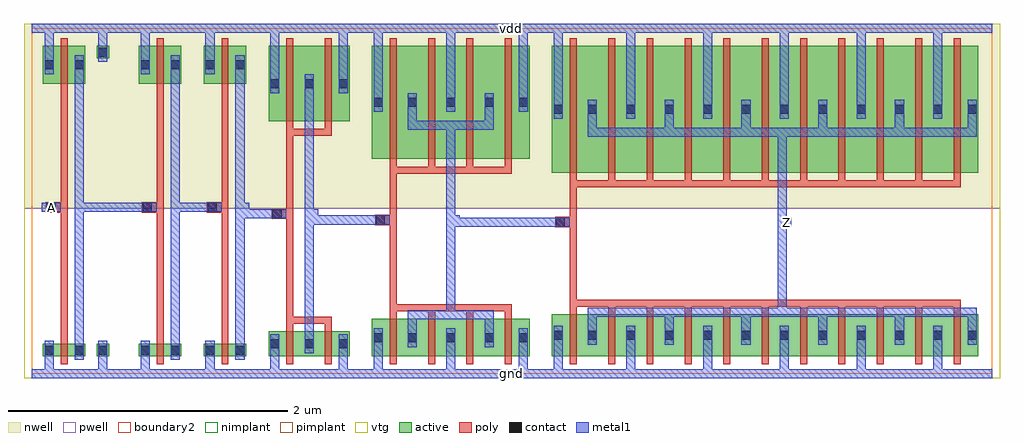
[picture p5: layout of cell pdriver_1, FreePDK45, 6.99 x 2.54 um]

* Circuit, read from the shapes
.subckt pdriver_1 A Z gnd vdd
M1 pinv_8_1/A A gnd gnd nfet w=0.09u l=0.05u
M2 pinv_8_2/A pinv_8_1/A gnd gnd nfet w=0.09u l=0.05u
M3 pinv_9_3/A pinv_8_2/A gnd gnd nfet w=0.09u l=0.05u
M4 pinv_10_4/A pinv_9_3/A gnd gnd nfet w=0.18u l=0.05u m=2
M5 pinv_11_5/A pinv_10_4/A gnd gnd nfet w=0.27u l=0.05u m=4
M6 Z pinv_11_5/A gnd gnd nfet w=0.3025u l=0.05u m=11
M7 pinv_8_1/A A vdd vdd pfet w=0.27u l=0.05u
M8 pinv_8_2/A pinv_8_1/A vdd vdd pfet w=0.27u l=0.05u
M9 pinv_9_3/A pinv_8_2/A vdd vdd pfet w=0.27u l=0.05u
M10 pinv_10_4/A pinv_9_3/A vdd vdd pfet w=0.54u l=0.05u m=2
M11 pinv_11_5/A pinv_10_4/A vdd vdd pfet w=0.81u l=0.05u m=4
M12 Z pinv_11_5/A vdd vdd pfet w=0.9075u l=0.05u m=11
.ends

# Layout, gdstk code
import gdstk
lib = gdstk.Library(unit=1e-6, precision=5e-10)
def R(c, l, rs):  # rectangles x0, y0, x1, y1
    for r in rs: c.add(gdstk.rectangle(r[:2], r[2:], *l))
def A(c, l, x, y, w, h, nx, ny, dx, dy):  # array of equal rectangles
    R(c, l, [(x+i*dx, y+j*dy, x+i*dx+w, y+j*dy+h) for i in range(nx) for j in range(ny)])
active = (1, 0)
pwell = (2, 0)
nwell = (3, 0)
nimplant = (4, 0)
pimplant = (5, 0)
vtg = (6, 0)
poly = (9, 0)
contact = (10, 0)
metal1 = (11, 0)
boundary2 = (239, 0)

contact_10 = lib.new_cell('contact_10')
R(contact_10, active, [(0,0.0225,0.09,0.1125)])
R(contact_10, nwell, [(-0.055,-0.0325,0.145,0.1675)])
R(contact_10, pimplant, [(0,0.0225,0.09,0.1125)])
R(contact_10, contact, [(0.0125,0.035,0.0775,0.1)])
R(contact_10, metal1, [(0.0125,0,0.0775,0.135)])
R(contact_10, boundary2, [(-0.055,-0.0325,0.145,0.1675)])

pmos_m1_w0_270_sm1_dm1_d = lib.new_cell('pmos_m1_w0_270_sm1_dm1_da_p')
R(pmos_m1_w0_270_sm1_dm1_d, active, [(0,0,0.305,0.27)])
R(pmos_m1_w0_270_sm1_dm1_d, nwell, [(-0.08,-0.08,0.385,0.35)])
R(pmos_m1_w0_270_sm1_dm1_d, pimplant, [(0,0,0.305,0.27)])
R(pmos_m1_w0_270_sm1_dm1_d, vtg, [(-0.08,-0.08,0.385,0.35)])
R(pmos_m1_w0_270_sm1_dm1_d, poly, [(0.1275,-0.055,0.1775,0.325), (0.1275,-0.055,0.1775,0.325)])
R(pmos_m1_w0_270_sm1_dm1_d, metal1, [(0.0125,0.0675,0.0775,0.2025), (0.2275,0.0675,0.2925,0.2025)])
R(pmos_m1_w0_270_sm1_dm1_d, boundary2, [(-0.08,-0.08,0.385,0.35)])
pmos_m1_w0_270_sm1_dm1_d.add(gdstk.Reference(contact_10, (0,0.0675)))
pmos_m1_w0_270_sm1_dm1_d.add(gdstk.Reference(contact_10, (0.215,0.0675)))
pmos_m1_w0_270_sm1_dm1_d.add(gdstk.Label('G', (0.1525,0.135), layer=9, texttype=0))
pmos_m1_w0_270_sm1_dm1_d.add(gdstk.Label('S', (0.045,0.135), layer=11, texttype=0))
pmos_m1_w0_270_sm1_dm1_d.add(gdstk.Label('D', (0.26,0.135), layer=11, texttype=0))

contact_9 = lib.new_cell('contact_9')
R(contact_9, active, [(0,0.0225,0.09,0.1125)])
R(contact_9, pwell, [(-0.055,-0.0325,0.145,0.1675)])
R(contact_9, nimplant, [(0,0.0225,0.09,0.1125)])
R(contact_9, contact, [(0.0125,0.035,0.0775,0.1)])
R(contact_9, metal1, [(0.0125,0,0.0775,0.135)])
R(contact_9, boundary2, [(-0.055,-0.0325,0.145,0.1675)])

nmos_m1_w0_090_sm1_dm1_d = lib.new_cell('nmos_m1_w0_090_sm1_dm1_da_p')
R(nmos_m1_w0_090_sm1_dm1_d, active, [(0,0,0.305,0.09)])
R(nmos_m1_w0_090_sm1_dm1_d, pwell, [(-0.08,-0.08,0.385,0.17)])
R(nmos_m1_w0_090_sm1_dm1_d, nimplant, [(0,0,0.305,0.09)])
R(nmos_m1_w0_090_sm1_dm1_d, vtg, [(-0.08,-0.08,0.385,0.17)])
R(nmos_m1_w0_090_sm1_dm1_d, poly, [(0.1275,-0.055,0.1775,0.145), (0.1275,-0.055,0.1775,0.145)])
R(nmos_m1_w0_090_sm1_dm1_d, metal1, [(0.0125,-0.0225,0.0775,0.1125), (0.2275,-0.0225,0.2925,0.1125)])
R(nmos_m1_w0_090_sm1_dm1_d, boundary2, [(-0.08,-0.08,0.385,0.17)])
nmos_m1_w0_090_sm1_dm1_d.add(gdstk.Reference(contact_9, (0,-0.0225)))
nmos_m1_w0_090_sm1_dm1_d.add(gdstk.Reference(contact_9, (0.215,-0.0225)))
nmos_m1_w0_090_sm1_dm1_d.add(gdstk.Label('G', (0.1525,0.045), layer=9, texttype=0))
nmos_m1_w0_090_sm1_dm1_d.add(gdstk.Label('S', (0.045,0.045), layer=11, texttype=0))
nmos_m1_w0_090_sm1_dm1_d.add(gdstk.Label('D', (0.26,0.045), layer=11, texttype=0))

contact_11 = lib.new_cell('contact_11')
R(contact_11, active, [(0,0.0225,0.09,0.1125)])
R(contact_11, nwell, [(-0.055,-0.0325,0.145,0.1675)])
R(contact_11, nimplant, [(0,0.0225,0.09,0.1125)])
R(contact_11, contact, [(0.0125,0.035,0.0775,0.1)])
R(contact_11, metal1, [(0.0125,0,0.0775,0.135)])
R(contact_11, boundary2, [(-0.055,-0.0325,0.145,0.1675)])

contact_12 = lib.new_cell('contact_12')
R(contact_12, active, [(0,0.0225,0.09,0.1125)])
R(contact_12, pwell, [(-0.055,-0.0325,0.145,0.1675)])
R(contact_12, pimplant, [(0,0.0225,0.09,0.1125)])
R(contact_12, contact, [(0.0125,0.035,0.0775,0.1)])
R(contact_12, metal1, [(0.0125,0,0.0775,0.135)])
R(contact_12, boundary2, [(-0.055,-0.0325,0.145,0.1675)])

contact_13 = lib.new_cell('contact_13')
R(contact_13, poly, [(0.03,0,0.105,0.075)])
R(contact_13, contact, [(0.035,0.005,0.1,0.07)])
R(contact_13, metal1, [(0,0.005,0.135,0.07)])
R(contact_13, boundary2, [(0,0,0.135,0.075)])

pinv_1 = lib.new_cell('pinv_1')
R(pinv_1, pwell, [(-0.055,-0.0325,0.7425,1.1875)])
R(pinv_1, nwell, [(-0.055,1.1875,0.7425,2.51)])
R(pinv_1, vtg, [(-0.055,-0.0325,0.7425,1.1875), (-0.055,1.1875,0.7425,2.51)])
R(pinv_1, poly, [(0.2075,0.27,0.2575,2.025), (0.14,1.155,0.2075,1.23)])
R(pinv_1, metal1, [(0,-0.0325,0.6875,0.0325), (0.0925,-0.0325,0.1575,0.1025), (0.4775,0,0.5425,0.17), (0.3075,0.1025,0.3725,2.2825), (0.0725,1.16,0.2075,1.225), (0.34,1.16,0.405,1.225), (0.0925,2.1475,0.1575,2.5075), (0.4775,2.305,0.5425,2.475), (0,2.4425,0.6875,2.5075)])
R(pinv_1, boundary2, [(0,0,0.6875,2.475), (0,0,0.6875,2.475)])
pinv_1.add(gdstk.Reference(pmos_m1_w0_270_sm1_dm1_d, (0.08,2.08)))
pinv_1.add(gdstk.Reference(nmos_m1_w0_090_sm1_dm1_d, (0.08,0.125)))
pinv_1.add(gdstk.Reference(contact_11, (0.465,2.2375)))
pinv_1.add(gdstk.Reference(contact_12, (0.465,0.1025)))
pinv_1.add(gdstk.Reference(contact_13, (0.0725,1.155)))
pinv_1.add(gdstk.Label('A', (0.14,1.1925), layer=11, texttype=0))
pinv_1.add(gdstk.Label('Z', (0.3725,1.1925), layer=11, texttype=0))
pinv_1.add(gdstk.Label('gnd', (0.344,0), layer=11, texttype=0))
pinv_1.add(gdstk.Label('vdd', (0.344,2.475), layer=11, texttype=0))

pinv_8 = lib.new_cell('pinv_8')
R(pinv_8, pwell, [(-0.055,-0.0325,0.52,1.1875)])
R(pinv_8, nwell, [(-0.055,1.1875,0.52,2.51)])
R(pinv_8, vtg, [(-0.055,-0.0325,0.52,1.1875), (-0.055,1.1875,0.52,2.51)])
R(pinv_8, poly, [(0.2075,0.27,0.2575,2.025), (0.14,1.155,0.2075,1.23)])
R(pinv_8, metal1, [(0,-0.0325,0.465,0.0325), (0.0925,-0.0325,0.1575,0.1025), (0.3075,0.1025,0.3725,2.2825), (0.0725,1.16,0.2075,1.225), (0.34,1.16,0.405,1.225), (0.0925,2.1475,0.1575,2.5075), (0,2.4425,0.465,2.5075)])
R(pinv_8, boundary2, [(0,0,0.465,2.475), (0,0,0.465,2.475)])
pinv_8.add(gdstk.Reference(pmos_m1_w0_270_sm1_dm1_d, (0.08,2.08)))
pinv_8.add(gdstk.Reference(nmos_m1_w0_090_sm1_dm1_d, (0.08,0.125)))
pinv_8.add(gdstk.Reference(contact_13, (0.0725,1.155)))
pinv_8.add(gdstk.Label('A', (0.14,1.1925), layer=11, texttype=0))
pinv_8.add(gdstk.Label('Z', (0.3725,1.1925), layer=11, texttype=0))
pinv_8.add(gdstk.Label('gnd', (0.2325,0), layer=11, texttype=0))
pinv_8.add(gdstk.Label('vdd', (0.2325,2.475), layer=11, texttype=0))

pmos_m2_w0_540_sm1_dm1_d = lib.new_cell('pmos_m2_w0_540_sm1_dm1_da_p')
R(pmos_m2_w0_540_sm1_dm1_d, active, [(0,0,0.58,0.54)])
R(pmos_m2_w0_540_sm1_dm1_d, nwell, [(-0.08,-0.08,0.66,0.62)])
R(pmos_m2_w0_540_sm1_dm1_d, pimplant, [(0,0,0.58,0.54)])
R(pmos_m2_w0_540_sm1_dm1_d, vtg, [(-0.08,-0.08,0.66,0.62)])
R(pmos_m2_w0_540_sm1_dm1_d, poly, [(0.1275,-0.105,0.4525,-0.055), (0.1275,-0.055,0.1775,0.595), (0.4025,-0.055,0.4525,0.595)])
A(pmos_m2_w0_540_sm1_dm1_d, metal1, 0.0125, 0.2025, 0.065, 0.135, 3, 1, 0.245, 0)
R(pmos_m2_w0_540_sm1_dm1_d, boundary2, [(-0.08,-0.08,0.66,0.62)])
pmos_m2_w0_540_sm1_dm1_d.add(gdstk.Reference(contact_10, (0,0.2025)))
pmos_m2_w0_540_sm1_dm1_d.add(gdstk.Reference(contact_10, (0.245,0.2025)))
pmos_m2_w0_540_sm1_dm1_d.add(gdstk.Reference(contact_10, (0.49,0.2025)))
pmos_m2_w0_540_sm1_dm1_d.add(gdstk.Label('G', (0.29,-0.08), layer=9, texttype=0))
pmos_m2_w0_540_sm1_dm1_d.add(gdstk.Label('S', (0.535,0.27), layer=11, texttype=0))
pmos_m2_w0_540_sm1_dm1_d.add(gdstk.Label('S', (0.045,0.27), layer=11, texttype=0))
pmos_m2_w0_540_sm1_dm1_d.add(gdstk.Label('D', (0.29,0.27), layer=11, texttype=0))

nmos_m2_w0_180_sm1_dm1_d = lib.new_cell('nmos_m2_w0_180_sm1_dm1_da_p')
R(nmos_m2_w0_180_sm1_dm1_d, active, [(0,0,0.58,0.18)])
R(nmos_m2_w0_180_sm1_dm1_d, pwell, [(-0.08,-0.08,0.66,0.26)])
R(nmos_m2_w0_180_sm1_dm1_d, nimplant, [(0,0,0.58,0.18)])
R(nmos_m2_w0_180_sm1_dm1_d, vtg, [(-0.08,-0.08,0.66,0.26)])
R(nmos_m2_w0_180_sm1_dm1_d, poly, [(0.1275,-0.055,0.1775,0.235), (0.4025,-0.055,0.4525,0.235), (0.1275,0.235,0.4525,0.285)])
A(nmos_m2_w0_180_sm1_dm1_d, metal1, 0.0125, 0.0225, 0.065, 0.135, 3, 1, 0.245, 0)
R(nmos_m2_w0_180_sm1_dm1_d, boundary2, [(-0.08,-0.08,0.66,0.26)])
nmos_m2_w0_180_sm1_dm1_d.add(gdstk.Reference(contact_9, (0,0.0225)))
nmos_m2_w0_180_sm1_dm1_d.add(gdstk.Reference(contact_9, (0.245,0.0225)))
nmos_m2_w0_180_sm1_dm1_d.add(gdstk.Reference(contact_9, (0.49,0.0225)))
nmos_m2_w0_180_sm1_dm1_d.add(gdstk.Label('G', (0.29,0.26), layer=9, texttype=0))
nmos_m2_w0_180_sm1_dm1_d.add(gdstk.Label('S', (0.535,0.09), layer=11, texttype=0))
nmos_m2_w0_180_sm1_dm1_d.add(gdstk.Label('S', (0.045,0.09), layer=11, texttype=0))
nmos_m2_w0_180_sm1_dm1_d.add(gdstk.Label('D', (0.29,0.09), layer=11, texttype=0))

pinv_9 = lib.new_cell('pinv_9')
R(pinv_9, pwell, [(-0.055,-0.0325,0.795,1.1875)])
R(pinv_9, nwell, [(-0.055,1.1875,0.795,2.51)])
R(pinv_9, vtg, [(-0.055,-0.0325,0.795,1.1875), (-0.055,1.1875,0.795,2.51)])
R(pinv_9, poly, [(0.2075,0.41,0.2575,1.705), (0.14,1.11,0.2075,1.185)])
R(pinv_9, metal1, [(0,-0.0325,0.74,0.0325), (0.0925,-0.0325,0.1575,0.1475), (0.5825,-0.0325,0.6475,0.1475), (0.3375,0.1475,0.4025,2.1475), (0.0725,1.115,0.2075,1.18), (0.37,1.115,0.435,1.18), (0.0925,2.0125,0.1575,2.5075), (0.5825,2.0125,0.6475,2.5075), (0,2.4425,0.74,2.5075)])
R(pinv_9, boundary2, [(0,0,0.74,2.475), (0,0,0.74,2.475)])
pinv_9.add(gdstk.Reference(pmos_m2_w0_540_sm1_dm1_d, (0.08,1.81)))
pinv_9.add(gdstk.Reference(nmos_m2_w0_180_sm1_dm1_d, (0.08,0.125)))
pinv_9.add(gdstk.Reference(contact_13, (0.0725,1.11)))
pinv_9.add(gdstk.Label('A', (0.14,1.1475), layer=11, texttype=0))
pinv_9.add(gdstk.Label('Z', (0.4025,1.1475), layer=11, texttype=0))
pinv_9.add(gdstk.Label('gnd', (0.37,0), layer=11, texttype=0))
pinv_9.add(gdstk.Label('vdd', (0.37,2.475), layer=11, texttype=0))

pmos_m4_w0_810_sm1_dm1_d = lib.new_cell('pmos_m4_w0_810_sm1_dm1_da_p')
R(pmos_m4_w0_810_sm1_dm1_d, active, [(0,0,1.13,0.81)])
R(pmos_m4_w0_810_sm1_dm1_d, nwell, [(-0.08,-0.08,1.21,0.89)])
R(pmos_m4_w0_810_sm1_dm1_d, pimplant, [(0,0,1.13,0.81)])
R(pmos_m4_w0_810_sm1_dm1_d, vtg, [(-0.08,-0.08,1.21,0.89)])
A(pmos_m4_w0_810_sm1_dm1_d, poly, 0.1275, -0.055, 0.05, 0.92, 4, 1, 0.275, 0)
R(pmos_m4_w0_810_sm1_dm1_d, poly, [(0.1275,-0.105,1.0025,-0.055)])
A(pmos_m4_w0_810_sm1_dm1_d, metal1, 0.0125, 0.3375, 0.065, 0.135, 3, 1, 0.52, 0)
R(pmos_m4_w0_810_sm1_dm1_d, metal1, [(0.2575,0.2075,0.8725,0.2725), (0.2575,0.24,0.3225,0.405), (0.8075,0.24,0.8725,0.405)])
R(pmos_m4_w0_810_sm1_dm1_d, boundary2, [(-0.08,-0.08,1.21,0.89)])
pmos_m4_w0_810_sm1_dm1_d.add(gdstk.Reference(contact_10, (0,0.3375)))
pmos_m4_w0_810_sm1_dm1_d.add(gdstk.Reference(contact_10, (0.245,0.3375)))
pmos_m4_w0_810_sm1_dm1_d.add(gdstk.Reference(contact_10, (0.52,0.3375)))
pmos_m4_w0_810_sm1_dm1_d.add(gdstk.Reference(contact_10, (0.795,0.3375)))
pmos_m4_w0_810_sm1_dm1_d.add(gdstk.Reference(contact_10, (1.04,0.3375)))
pmos_m4_w0_810_sm1_dm1_d.add(gdstk.Label('G', (0.565,-0.08), layer=9, texttype=0))
pmos_m4_w0_810_sm1_dm1_d.add(gdstk.Label('S', (0.565,0.405), layer=11, texttype=0))
pmos_m4_w0_810_sm1_dm1_d.add(gdstk.Label('S', (0.045,0.405), layer=11, texttype=0))
pmos_m4_w0_810_sm1_dm1_d.add(gdstk.Label('S', (1.085,0.405), layer=11, texttype=0))
pmos_m4_w0_810_sm1_dm1_d.add(gdstk.Label('D', (0.565,0.24), layer=11, texttype=0))

nmos_m4_w0_270_sm1_dm1_d = lib.new_cell('nmos_m4_w0_270_sm1_dm1_da_p')
R(nmos_m4_w0_270_sm1_dm1_d, active, [(0,0,1.13,0.27)])
R(nmos_m4_w0_270_sm1_dm1_d, pwell, [(-0.08,-0.08,1.21,0.35)])
R(nmos_m4_w0_270_sm1_dm1_d, nimplant, [(0,0,1.13,0.27)])
R(nmos_m4_w0_270_sm1_dm1_d, vtg, [(-0.08,-0.08,1.21,0.35)])
A(nmos_m4_w0_270_sm1_dm1_d, poly, 0.1275, -0.055, 0.05, 0.38, 4, 1, 0.275, 0)
R(nmos_m4_w0_270_sm1_dm1_d, poly, [(0.1275,0.325,1.0025,0.375)])
A(nmos_m4_w0_270_sm1_dm1_d, metal1, 0.0125, 0.0675, 0.065, 0.135, 3, 1, 0.52, 0)
R(nmos_m4_w0_270_sm1_dm1_d, metal1, [(0.2575,0.135,0.3225,0.3), (0.8075,0.135,0.8725,0.3), (0.2575,0.2675,0.8725,0.3325)])
R(nmos_m4_w0_270_sm1_dm1_d, boundary2, [(-0.08,-0.08,1.21,0.35)])
nmos_m4_w0_270_sm1_dm1_d.add(gdstk.Reference(contact_9, (0,0.0675)))
nmos_m4_w0_270_sm1_dm1_d.add(gdstk.Reference(contact_9, (0.245,0.0675)))
nmos_m4_w0_270_sm1_dm1_d.add(gdstk.Reference(contact_9, (0.52,0.0675)))
nmos_m4_w0_270_sm1_dm1_d.add(gdstk.Reference(contact_9, (0.795,0.0675)))
nmos_m4_w0_270_sm1_dm1_d.add(gdstk.Reference(contact_9, (1.04,0.0675)))
nmos_m4_w0_270_sm1_dm1_d.add(gdstk.Label('G', (0.565,0.35), layer=9, texttype=0))
nmos_m4_w0_270_sm1_dm1_d.add(gdstk.Label('S', (0.045,0.135), layer=11, texttype=0))
nmos_m4_w0_270_sm1_dm1_d.add(gdstk.Label('S', (1.085,0.135), layer=11, texttype=0))
nmos_m4_w0_270_sm1_dm1_d.add(gdstk.Label('S', (0.565,0.135), layer=11, texttype=0))
nmos_m4_w0_270_sm1_dm1_d.add(gdstk.Label('D', (0.565,0.3), layer=11, texttype=0))

pinv_10 = lib.new_cell('pinv_10')
R(pinv_10, pwell, [(-0.055,-0.0325,1.345,1.1875)])
R(pinv_10, nwell, [(-0.055,1.1875,1.345,2.51)])
R(pinv_10, vtg, [(-0.055,-0.0325,1.345,1.1875), (-0.055,1.1875,1.345,2.51)])
R(pinv_10, poly, [(0.2075,0.5,0.2575,1.435), (0.14,1.065,0.2075,1.14)])
A(pinv_10, metal1, 0.0925, -0.0325, 0.065, 0.225, 3, 1, 0.52, 0)
A(pinv_10, metal1, 0.0925, 1.8775, 0.065, 0.63, 3, 1, 0.52, 0)
R(pinv_10, metal1, [(0,-0.0325,1.29,0.0325), (0.6125,0.3925,0.6775,1.8125), (0.0725,1.07,0.2075,1.135), (0.645,1.07,0.71,1.135), (0,2.4425,1.29,2.5075)])
R(pinv_10, boundary2, [(0,0,1.29,2.475), (0,0,1.29,2.475)])
pinv_10.add(gdstk.Reference(pmos_m4_w0_810_sm1_dm1_d, (0.08,1.54)))
pinv_10.add(gdstk.Reference(nmos_m4_w0_270_sm1_dm1_d, (0.08,0.125)))
pinv_10.add(gdstk.Reference(contact_13, (0.0725,1.065)))
pinv_10.add(gdstk.Label('A', (0.14,1.1025), layer=11, texttype=0))
pinv_10.add(gdstk.Label('Z', (0.6775,1.1025), layer=11, texttype=0))
pinv_10.add(gdstk.Label('gnd', (0.645,0), layer=11, texttype=0))
pinv_10.add(gdstk.Label('vdd', (0.645,2.475), layer=11, texttype=0))

pmos_m11_w0_907_sm1_dm1_ = lib.new_cell('pmos_m11_w0_907_sm1_dm1_da_p')
R(pmos_m11_w0_907_sm1_dm1_, active, [(0,0,3.055,0.9075)])
R(pmos_m11_w0_907_sm1_dm1_, nwell, [(-0.08,-0.08,3.135,0.9875)])
R(pmos_m11_w0_907_sm1_dm1_, pimplant, [(0,0,3.055,0.9075)])
R(pmos_m11_w0_907_sm1_dm1_, vtg, [(-0.08,-0.08,3.135,0.9875)])
A(pmos_m11_w0_907_sm1_dm1_, poly, 0.1275, -0.055, 0.05, 1.0175, 11, 1, 0.275, 0)
R(pmos_m11_w0_907_sm1_dm1_, poly, [(0.1275,-0.105,2.9275,-0.055)])
A(pmos_m11_w0_907_sm1_dm1_, metal1, 0.2575, 0.29, 0.065, 0.165, 5, 1, 0.55, 0)
A(pmos_m11_w0_907_sm1_dm1_, metal1, 0.5325, 0.385, 0.065, 0.135, 5, 1, 0.55, 0)
R(pmos_m11_w0_907_sm1_dm1_, metal1, [(0.2575,0.255,3.0425,0.32), (2.9775,0.29,3.0425,0.455), (0.0125,0.385,0.0775,0.52)])
R(pmos_m11_w0_907_sm1_dm1_, boundary2, [(-0.08,-0.08,3.135,0.9875)])
pmos_m11_w0_907_sm1_dm1_.add(gdstk.Reference(contact_10, (0,0.385)))
pmos_m11_w0_907_sm1_dm1_.add(gdstk.Reference(contact_10, (0.245,0.385)))
pmos_m11_w0_907_sm1_dm1_.add(gdstk.Reference(contact_10, (0.52,0.385)))
pmos_m11_w0_907_sm1_dm1_.add(gdstk.Reference(contact_10, (0.795,0.385)))
pmos_m11_w0_907_sm1_dm1_.add(gdstk.Reference(contact_10, (1.07,0.385)))
pmos_m11_w0_907_sm1_dm1_.add(gdstk.Reference(contact_10, (1.345,0.385)))
pmos_m11_w0_907_sm1_dm1_.add(gdstk.Reference(contact_10, (1.62,0.385)))
pmos_m11_w0_907_sm1_dm1_.add(gdstk.Reference(contact_10, (1.895,0.385)))
pmos_m11_w0_907_sm1_dm1_.add(gdstk.Reference(contact_10, (2.17,0.385)))
pmos_m11_w0_907_sm1_dm1_.add(gdstk.Reference(contact_10, (2.445,0.385)))
pmos_m11_w0_907_sm1_dm1_.add(gdstk.Reference(contact_10, (2.72,0.385)))
pmos_m11_w0_907_sm1_dm1_.add(gdstk.Reference(contact_10, (2.965,0.385)))
pmos_m11_w0_907_sm1_dm1_.add(gdstk.Label('G', (1.5275,-0.08), layer=9, texttype=0))
pmos_m11_w0_907_sm1_dm1_.add(gdstk.Label('S', (0.565,0.4525), layer=11, texttype=0))
pmos_m11_w0_907_sm1_dm1_.add(gdstk.Label('S', (1.665,0.4525), layer=11, texttype=0))
pmos_m11_w0_907_sm1_dm1_.add(gdstk.Label('S', (2.765,0.4525), layer=11, texttype=0))
pmos_m11_w0_907_sm1_dm1_.add(gdstk.Label('S', (0.045,0.4525), layer=11, texttype=0))
pmos_m11_w0_907_sm1_dm1_.add(gdstk.Label('S', (1.115,0.4525), layer=11, texttype=0))
pmos_m11_w0_907_sm1_dm1_.add(gdstk.Label('S', (2.215,0.4525), layer=11, texttype=0))
pmos_m11_w0_907_sm1_dm1_.add(gdstk.Label('D', (1.65,0.2875), layer=11, texttype=0))

nmos_m11_w0_302_sm1_dm1_ = lib.new_cell('nmos_m11_w0_302_sm1_dm1_da_p')
R(nmos_m11_w0_302_sm1_dm1_, active, [(0,0,3.055,0.3025)])
R(nmos_m11_w0_302_sm1_dm1_, pwell, [(-0.08,-0.08,3.135,0.3825)])
R(nmos_m11_w0_302_sm1_dm1_, nimplant, [(0,0,3.055,0.3025)])
R(nmos_m11_w0_302_sm1_dm1_, vtg, [(-0.08,-0.08,3.135,0.3825)])
A(nmos_m11_w0_302_sm1_dm1_, poly, 0.1275, -0.055, 0.05, 0.4125, 11, 1, 0.275, 0)
R(nmos_m11_w0_302_sm1_dm1_, poly, [(0.1275,0.3575,2.9275,0.4075)])
A(nmos_m11_w0_302_sm1_dm1_, metal1, 0.5325, 0.085, 0.065, 0.135, 5, 1, 0.55, 0)
A(nmos_m11_w0_302_sm1_dm1_, metal1, 0.2575, 0.15, 0.065, 0.165, 5, 1, 0.55, 0)
R(nmos_m11_w0_302_sm1_dm1_, metal1, [(0.0125,0.085,0.0775,0.22), (2.9775,0.15,3.0425,0.315), (0.2575,0.285,3.0425,0.35)])
R(nmos_m11_w0_302_sm1_dm1_, boundary2, [(-0.08,-0.08,3.135,0.3825)])
nmos_m11_w0_302_sm1_dm1_.add(gdstk.Reference(contact_9, (0,0.085)))
nmos_m11_w0_302_sm1_dm1_.add(gdstk.Reference(contact_9, (0.245,0.085)))
nmos_m11_w0_302_sm1_dm1_.add(gdstk.Reference(contact_9, (0.52,0.085)))
nmos_m11_w0_302_sm1_dm1_.add(gdstk.Reference(contact_9, (0.795,0.085)))
nmos_m11_w0_302_sm1_dm1_.add(gdstk.Reference(contact_9, (1.07,0.085)))
nmos_m11_w0_302_sm1_dm1_.add(gdstk.Reference(contact_9, (1.345,0.085)))
nmos_m11_w0_302_sm1_dm1_.add(gdstk.Reference(contact_9, (1.62,0.085)))
nmos_m11_w0_302_sm1_dm1_.add(gdstk.Reference(contact_9, (1.895,0.085)))
nmos_m11_w0_302_sm1_dm1_.add(gdstk.Reference(contact_9, (2.17,0.085)))
nmos_m11_w0_302_sm1_dm1_.add(gdstk.Reference(contact_9, (2.445,0.085)))
nmos_m11_w0_302_sm1_dm1_.add(gdstk.Reference(contact_9, (2.72,0.085)))
nmos_m11_w0_302_sm1_dm1_.add(gdstk.Reference(contact_9, (2.965,0.085)))
nmos_m11_w0_302_sm1_dm1_.add(gdstk.Label('G', (1.5275,0.3825), layer=9, texttype=0))
nmos_m11_w0_302_sm1_dm1_.add(gdstk.Label('S', (1.115,0.1525), layer=11, texttype=0))
nmos_m11_w0_302_sm1_dm1_.add(gdstk.Label('S', (1.665,0.1525), layer=11, texttype=0))
nmos_m11_w0_302_sm1_dm1_.add(gdstk.Label('S', (0.045,0.1525), layer=11, texttype=0))
nmos_m11_w0_302_sm1_dm1_.add(gdstk.Label('S', (0.565,0.1525), layer=11, texttype=0))
nmos_m11_w0_302_sm1_dm1_.add(gdstk.Label('S', (2.215,0.1525), layer=11, texttype=0))
nmos_m11_w0_302_sm1_dm1_.add(gdstk.Label('S', (2.765,0.1525), layer=11, texttype=0))
nmos_m11_w0_302_sm1_dm1_.add(gdstk.Label('D', (1.65,0.3175), layer=11, texttype=0))

pinv_11 = lib.new_cell('pinv_11')
R(pinv_11, pwell, [(-0.055,-0.0325,3.29,1.1875)])
R(pinv_11, nwell, [(-0.055,1.1875,3.29,2.51)])
R(pinv_11, vtg, [(-0.055,-0.0325,3.29,1.1875), (-0.055,1.1875,3.29,2.51)])
R(pinv_11, poly, [(0.2075,0.5325,0.2575,1.3375), (0.14,1.05,0.2075,1.125)])
A(pinv_11, metal1, 0.6125, -0.0325, 0.065, 0.2425, 5, 1, 0.55, 0)
A(pinv_11, metal1, 0.6125, 1.8275, 0.065, 0.68, 5, 1, 0.55, 0)
R(pinv_11, metal1, [(0,-0.0325,3.235,0.0325), (0.0925,-0.0325,0.1575,0.21), (1.6975,0.41,1.7625,1.7625), (0.0725,1.055,0.2075,1.12), (1.73,1.055,1.795,1.12), (0.0925,1.8275,0.1575,2.5075), (0,2.4425,3.235,2.5075)])
R(pinv_11, boundary2, [(0,0,3.235,2.475), (0,0,3.235,2.475)])
pinv_11.add(gdstk.Reference(pmos_m11_w0_907_sm1_dm1_, (0.08,1.4425)))
pinv_11.add(gdstk.Reference(nmos_m11_w0_302_sm1_dm1_, (0.08,0.125)))
pinv_11.add(gdstk.Reference(contact_13, (0.0725,1.05)))
pinv_11.add(gdstk.Label('A', (0.14,1.0875), layer=11, texttype=0))
pinv_11.add(gdstk.Label('Z', (1.7625,1.0875), layer=11, texttype=0))
pinv_11.add(gdstk.Label('gnd', (1.6175,0), layer=11, texttype=0))
pinv_11.add(gdstk.Label('vdd', (1.6175,2.475), layer=11, texttype=0))

pdriver_1 = lib.new_cell('pdriver_1')
R(pdriver_1, pwell, [(-0.055,-0.0325,6.9375,1.1875)])
R(pdriver_1, nwell, [(-0.055,1.1875,6.9375,2.51)])
R(pdriver_1, vtg, [(-0.055,-0.0325,6.9375,1.1875), (-0.055,1.1875,6.9375,2.51)])
R(pdriver_1, metal1, [(0,-0.0325,6.8825,0.0325), (3.0025,1.055,3.0675,1.12), (3.035,1.055,3.7875,1.12), (5.3775,1.055,5.4425,1.12), (1.9875,1.07,2.0525,1.135), (2.02,1.07,2.4975,1.135), (3.0025,1.0875,3.0675,1.1025), (1.9875,1.1025,2.0525,1.1475), (1.4925,1.115,1.5575,1.18), (1.525,1.115,1.7575,1.18), (1.4925,1.1475,1.5575,1.1925), (0.0725,1.16,0.2075,1.225), (0.3725,1.16,0.8275,1.225), (1.06,1.16,1.2925,1.225), (0,2.4425,6.8825,2.5075)])
R(pdriver_1, boundary2, [(0,0,6.8825,2.475), (0,0,6.8825,2.475)])
pdriver_1.add(gdstk.Reference(pinv_1, (0,0)))
pdriver_1.add(gdstk.Reference(pinv_8, (0.6875,0)))
pdriver_1.add(gdstk.Reference(pinv_8, (1.1525,0)))
pdriver_1.add(gdstk.Reference(pinv_9, (1.6175,0)))
pdriver_1.add(gdstk.Reference(pinv_10, (2.3575,0)))
pdriver_1.add(gdstk.Reference(pinv_11, (3.6475,0)))
pdriver_1.add(gdstk.Label('Z', (5.41,1.0875), layer=11, texttype=0))
pdriver_1.add(gdstk.Label('A', (0.14,1.1925), layer=11, texttype=0))
pdriver_1.add(gdstk.Label('gnd', (3.441,0), layer=11, texttype=0))
pdriver_1.add(gdstk.Label('vdd', (3.441,2.475), layer=11, texttype=0))

lib.write_gds('pdriver_1.gds')
